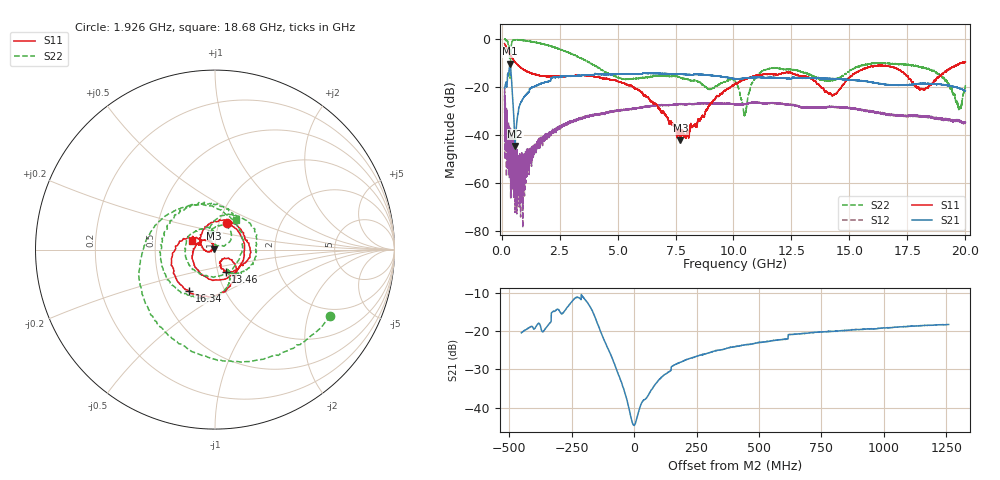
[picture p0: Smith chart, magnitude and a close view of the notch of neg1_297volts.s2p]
!Created with skrf (http://scikit-rf.org).
# GHz S RI R 50.0
!freq ReS11 ImS11 ReS21 ImS21 ReS12 ImS12 ReS22 ImS22
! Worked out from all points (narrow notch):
!   20013 points, 130 MHz to 20 GHz, reference 50 ohm
!   highest |S21| = -10.46 dB at 370 MHz (marker M1); lowest = -44.7 dB at 581 MHz (marker M2)
!   notch at M2: 28.3 dB deep, 210 MHz wide at half that depth
!   lowest |S11| = -42.3 dB at 7.708 GHz (marker M3), VSWR 1.02, Z = 49.5 + j0.578 ohm
!   |S11| at or under -10 dB: 605.6 MHz to 19.85 GHz (19.24 GHz wide, 188 % of centre); 19.85039 GHz to 19.8534 GHz (3.01 MHz wide, 0.0152 % of centre); 19.85548 GHz to 19.85702 GHz (1.548 MHz wide, 0.0078 % of centre)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
!   |S22| runs from -32.1 to -0.2 dB; largest |S21 - S12| = 0.3
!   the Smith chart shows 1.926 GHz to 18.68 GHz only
!   S11 on the Smith chart (normalised r, x): 1.926 GHz: 1.09, +0.34; 13.46 GHz: 1.09, -0.27; 16.34 GHz: 0.68, -0.34; 18.68 GHz: 0.77, +0.08
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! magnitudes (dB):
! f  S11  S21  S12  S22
! 130 MHz  -2.1  -20.5  -25.3  -0.2
! 370 MHz  -6.7  -10.5  -48.5  -14.7
! 581 MHz  -9.7  -44.7  -48.6  -0.4
! 984 MHz  -13.1  -24.2  -50.0  -0.8
! 1.926 GHz  -15.7  -18.0  -41.2  -2.6
! 3.442 GHz  -15.3  -15.3  -33.3  -8.2
! 5.238 GHz  -18.4  -14.7  -29.6  -16.8
! 6.754 GHz  -28.7  -14.5  -27.8  -15.6
! 7.708 GHz  -42.3  -14.7  -27.4  -16.1
! 10.06 GHz  -18.7  -16.6  -27.1  -17.7
! 10.49 GHz  -17.0  -16.4  -27.4  -31.8
! 10.81 GHz  -16.1  -16.1  -26.7  -18.4
! 11.27 GHz  -14.9  -16.1  -26.9  -13.4
! 13.38 GHz  -16.7  -16.4  -28.5  -15.3
! 13.46 GHz  -17.3  -16.4  -28.5  -15.6
! 14.33 GHz  -23.3  -16.8  -28.4  -17.1
! 16.34 GHz  -11.3  -18.7  -31.0  -10.2
! 16.69 GHz  -11.5  -19.1  -31.8  -10.3
! 18.09 GHz  -20.9  -18.7  -32.3  -11.8
! 18.68 GHz  -17.3  -18.9  -33.0  -13.9
! 19.74 GHz  -10.5  -20.6  -34.3  -28.7
! 20 GHz  -9.7  -21.7  -34.9  -19.7
